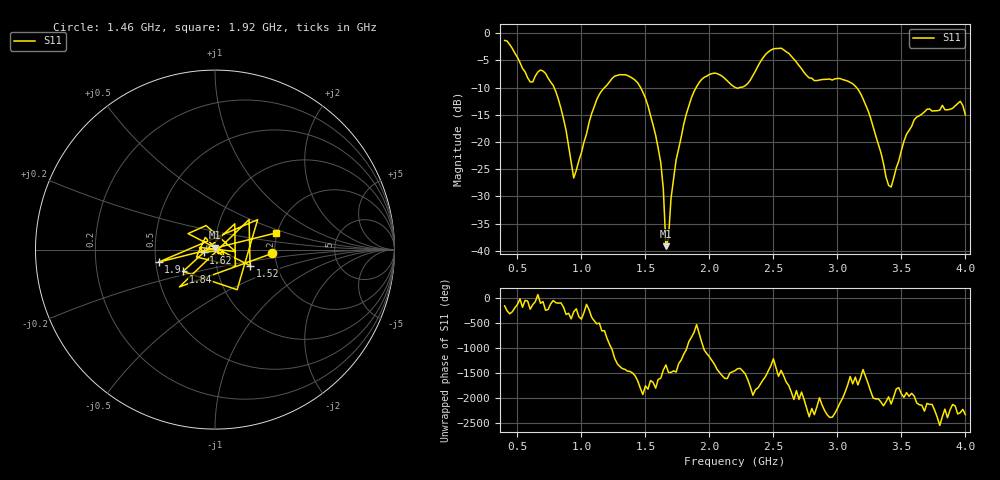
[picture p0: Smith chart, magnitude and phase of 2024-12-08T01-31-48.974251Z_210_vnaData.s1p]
!Created with skrf (http://scikit-rf.org).
# Hz S RI R 50.0
!freq ReS11 ImS11
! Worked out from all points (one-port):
!   181 points, 400 MHz to 4 GHz, reference 50 ohm
!   lowest |S11| = -39.2 dB at 1.66 GHz (marker M1), VSWR 1.02, Z = 49.8 + j1.07 ohm
!   |S11| at or under -10 dB: 786.8 MHz to 1.181 GHz (394.6 MHz wide, 40.1 % of centre); 1.462 GHz to 1.896 GHz (434.3 MHz wide, 25.9 % of centre); 3.149 GHz to end of sweep (the widest 3 of 4)
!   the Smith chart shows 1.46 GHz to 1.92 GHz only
!   S11 on the Smith chart (normalised r, x): 1.46 GHz: 1.94, -0.09; 1.52 GHz: 1.46, -0.27; 1.62 GHz: 0.88, -0.03; 1.84 GHz: 0.68, -0.17; 1.9 GHz: 0.52, -0.08; 1.92 GHz: 1.97, +0.42
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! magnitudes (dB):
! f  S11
! 400 MHz  -1.3
! 600 MHz  -9.0
! 720 MHz  -7.4
! 860 MHz  -15.7
! 940 MHz  -26.6
! 1.12 GHz  -12.2
! 1.3 GHz  -7.6
! 1.46 GHz  -9.9
! 1.52 GHz  -13.3
! 1.62 GHz  -23.8
! 1.64 GHz  -28.7
! 1.66 GHz  -39.2
! 1.68 GHz  -37.8
! 1.76 GHz  -21.2
! 1.84 GHz  -13.3
! 1.9 GHz  -9.8
! 1.92 GHz  -9.1
! 2.2 GHz  -10.0
! 2.48 GHz  -3.1
! 2.66 GHz  -4.8
! 2.82 GHz  -8.7
! 3.1 GHz  -9.1
! 3.24 GHz  -14.3
! 3.4 GHz  -28.0
! 3.56 GHz  -17.9
! 3.7 GHz  -14.0
! 3.96 GHz  -12.5
! 4 GHz  -15.0
